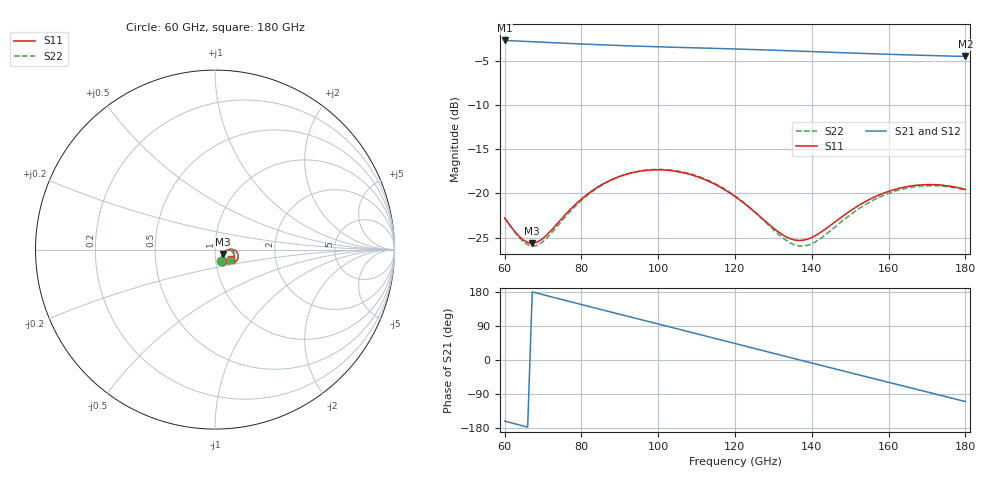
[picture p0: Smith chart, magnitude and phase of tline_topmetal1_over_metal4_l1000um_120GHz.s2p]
#  GHZ S DB R 50
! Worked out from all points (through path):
!   101 points, 60 GHz to 180 GHz, reference 50 ohm
!   highest |S21| = -2.65 dB at 60 GHz (marker M1); lowest = -4.5 dB at 180 GHz (marker M2)
!   group delay of S21, straight-line fit = 7.13 ps
!   lowest |S11| = -25.7 dB at 67.2 GHz (marker M3), VSWR 1.11, Z = 54.8 - j2.69 ohm
!   |S11| at or under -10 dB: start of sweep to end of sweep
!   |S22| runs from -26.0 to -17.3 dB; largest |S21 - S12| = 1.2e-13
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60  -22.79 -57.9  -2.65 -161.3  -2.65 -161.3  -22.76 -60.9
63.6  -24.79 -46.5  -2.72 -170.8  -2.72 -170.8  -24.91 -50.0
67.2  -25.66 -28.0  -2.79 179.7  -2.79 179.7  -25.98 -30.9
70.8  -24.78 -10.8  -2.87 170.3  -2.87 170.3  -25.15 -12.4
75.6  -22.51 0.1  -2.96 157.8  -2.96 157.8  -22.76 -0.6
80.4  -20.49 1.3  -3.06 145.4  -3.06 145.4  -20.63 0.7
86.4  -18.74 -3.4  -3.16 129.9  -3.16 129.9  -18.80 -4.2
91.2  -17.88 -9.4  -3.24 117.6  -3.24 117.6  -17.90 -10.5
96  -17.42 -16.3  -3.31 105.3  -3.31 105.3  -17.40 -17.6
100.8  -17.32 -23.5  -3.38 93.0  -3.38 93.0  -17.28 -25.1
105.6  -17.56 -30.6  -3.44 80.6  -3.44 80.6  -17.49 -32.6
110.4  -18.14 -37.2  -3.50 68.3  -3.50 68.3  -18.05 -39.7
120  -20.35 -46.7  -3.62 43.5  -3.62 43.5  -20.27 -50.5
127.2  -22.89 -45.9  -3.71 24.9  -3.71 24.9  -22.94 -51.1
133.2  -24.90 -34.6  -3.80 9.5  -3.80 9.5  -25.28 -40.5
136.8  -25.34 -23.3  -3.86 0.2  -3.86 0.2  -25.96 -28.3
140.4  -24.90 -12.5  -3.92 -9.0  -3.92 -9.0  -25.62 -15.8
150  -21.98 -1.1  -4.07 -33.5  -4.07 -33.5  -22.43 -2.2
156  -20.47 -3.7  -4.16 -48.8  -4.16 -48.8  -20.76 -4.9
160.8  -19.65 -8.2  -4.23 -61.0  -4.23 -61.0  -19.86 -9.6
170.4  -18.99 -19.8  -4.35 -85.3  -4.35 -85.3  -19.11 -22.0
180  -19.55 -31.4  -4.46 -109.7  -4.46 -109.7  -19.63 -34.8
